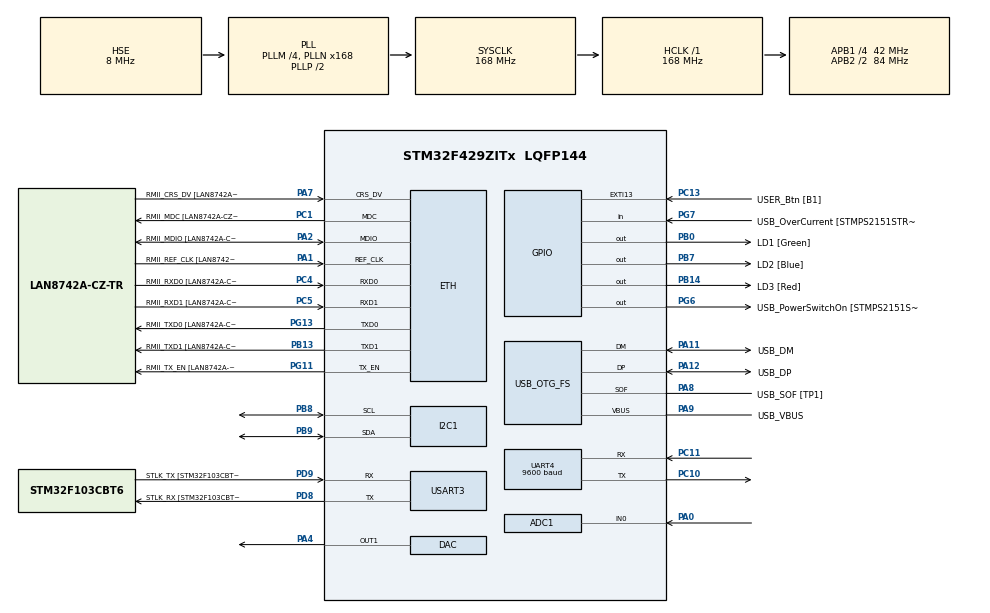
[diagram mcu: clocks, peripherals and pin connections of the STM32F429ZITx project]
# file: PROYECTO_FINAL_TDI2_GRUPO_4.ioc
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ADC1.Channel-2\#ChannelRegularConversion=ADC_CHANNEL_0
ADC1.NbrOfConversionFlag=1
ADC1.Rank-2\#ChannelRegularConversion=1
ADC1.SamplingTime-2\#ChannelRegularConversion=ADC_SAMPLETIME_3CYCLES
ADC1.master=1
DAC.DAC_OutputBuffer=DAC_OUTPUTBUFFER_ENABLE
DAC.DAC_Trigger=DAC_TRIGGER_T2_TRGO
Dma.DAC1.0.Direction=DMA_MEMORY_TO_PERIPH
Dma.DAC1.0.FIFOMode=DMA_FIFOMODE_DISABLE
Dma.DAC1.0.Instance=DMA1_Stream5
Dma.DAC1.0.MemDataAlignment=DMA_MDATAALIGN_WORD
Dma.DAC1.0.MemInc=DMA_MINC_ENABLE
Dma.DAC1.0.Mode=DMA_CIRCULAR
Dma.DAC1.0.PeriphDataAlignment=DMA_PDATAALIGN_WORD
Dma.DAC1.0.PeriphInc=DMA_PINC_DISABLE
Dma.DAC1.0.Priority=DMA_PRIORITY_LOW
Dma.Request0=DAC1
Dma.Request1=UART4_RX
Dma.Request2=UART4_TX
Dma.UART4_RX.1.Direction=DMA_PERIPH_TO_MEMORY
Dma.UART4_RX.1.FIFOMode=DMA_FIFOMODE_DISABLE
Dma.UART4_RX.1.Instance=DMA1_Stream2
Dma.UART4_RX.1.MemDataAlignment=DMA_MDATAALIGN_BYTE
Dma.UART4_RX.1.MemInc=DMA_MINC_ENABLE
Dma.UART4_RX.1.Mode=DMA_NORMAL
Dma.UART4_RX.1.PeriphDataAlignment=DMA_PDATAALIGN_BYTE
Dma.UART4_RX.1.PeriphInc=DMA_PINC_DISABLE
Dma.UART4_RX.1.Priority=DMA_PRIORITY_LOW
Dma.UART4_TX.2.Direction=DMA_MEMORY_TO_PERIPH
Dma.UART4_TX.2.FIFOMode=DMA_FIFOMODE_DISABLE
Dma.UART4_TX.2.Instance=DMA1_Stream4
Dma.UART4_TX.2.MemDataAlignment=DMA_MDATAALIGN_BYTE
Dma.UART4_TX.2.MemInc=DMA_MINC_ENABLE
Dma.UART4_TX.2.Mode=DMA_NORMAL
Dma.UART4_TX.2.PeriphDataAlignment=DMA_PDATAALIGN_BYTE
Dma.UART4_TX.2.PeriphInc=DMA_PINC_DISABLE
Dma.UART4_TX.2.Priority=DMA_PRIORITY_LOW
ETH.MediaInterface=HAL_ETH_RMII_MODE
ETH.PHY_Name=LAN8742A_PHY_ADDRESS
ETH.PHY_Value=0
ETH.PhyAddress=0
I2C1.OwnAddress=0
Mcu.Family=STM32F4
Mcu.Name=STM32F429ZITx
Mcu.Package=LQFP144
NVIC.DMA1_Stream2_IRQn=true\:0\:0\:false\:false\:true\:false\:true\:true
NVIC.DMA1_Stream4_IRQn=true\:0\:0\:false\:false\:true\:false\:true\:true
NVIC.DMA1_Stream5_IRQn=true\:0\:0\:false\:false\:true\:false\:true\:true
NVIC.I2C1_ER_IRQn=true\:0\:0\:false\:false\:true\:true\:true\:true
NVIC.I2C1_EV_IRQn=true\:0\:0\:false\:false\:true\:true\:true\:true
NVIC.PriorityGroup=NVIC_PRIORITYGROUP_4
NVIC.UART4_IRQn=true\:0\:0\:false\:false\:true\:true\:true\:true
PA0/WKUP.Signal=ADCx_IN0
PA1.GPIO_Label=RMII_REF_CLK [LAN8742A-CZ-TR_REFCLK0]
PA1.Mode=RMII
PA1.Signal=ETH_REF_CLK
PA10.GPIO_Label=USB_ID
PA10.Signal=USB_OTG_FS_ID
PA11.GPIO_Label=USB_DM
PA11.Mode=Device_Only
PA11.Signal=USB_OTG_FS_DM
PA12.GPIO_Label=USB_DP
PA12.Mode=Device_Only
PA12.Signal=USB_OTG_FS_DP
PA13.GPIO_Label=TMS
PA13.Mode=Serial_Wire
PA13.Signal=SYS_JTMS-SWDIO
PA14.GPIO_Label=TCK
PA14.Mode=Serial_Wire
PA14.Signal=SYS_JTCK-SWCLK
PA2.GPIO_Label=RMII_MDIO [LAN8742A-CZ-TR_MDIO]
PA2.Mode=RMII
PA2.Signal=ETH_MDIO
PA4.Signal=COMP_DAC1_group
PA7.GPIO_Label=RMII_CRS_DV [LAN8742A-CZ-TR_CRS_DV]
PA7.Mode=RMII
PA7.Signal=ETH_CRS_DV
PA8.GPIO_Label=USB_SOF [TP1]
PA8.Mode=Activate_SOF_FS
PA8.Signal=USB_OTG_FS_SOF
PA9.GPIO_Label=USB_VBUS
PA9.Mode=Activate_VBUS
PA9.Signal=USB_OTG_FS_VBUS
PB0.GPIO_Label=LD1 [Green]
PB0.Signal=GPIO_Output
PB13.GPIO_Label=RMII_TXD1 [LAN8742A-CZ-TR_TXD1]
PB13.Mode=RMII
PB13.Signal=ETH_TXD1
PB14.GPIO_Label=LD3 [Red]
PB14.Signal=GPIO_Output
PB7.GPIO_Label=LD2 [Blue]
PB7.Signal=GPIO_Output
PB8.GPIO_Pu=GPIO_PULLUP
PB8.Mode=I2C
PB8.Signal=I2C1_SCL
PB9.GPIO_Pu=GPIO_PULLUP
PB9.Mode=I2C
PB9.Signal=I2C1_SDA
PC1.GPIO_Label=RMII_MDC [LAN8742A-CZ-TR_MDC]
PC1.Mode=RMII
PC1.Signal=ETH_MDC
PC10.Mode=Asynchronous
PC10.Signal=UART4_TX
PC11.Mode=Asynchronous
PC11.Signal=UART4_RX
PC13.GPIO_Label=USER_Btn [B1]
PC13.Signal=GPXTI13
PC14/OSC32_IN.Mode=LSE-External-Clock-Source
PC14/OSC32_IN.Signal=RCC_OSC32_IN
PC15/OSC32_OUT.Mode=LSE-External-Clock-Source
PC15/OSC32_OUT.Signal=RCC_OSC32_OUT
PC4.GPIO_Label=RMII_RXD0 [LAN8742A-CZ-TR_RXD0]
PC4.Mode=RMII
PC4.Signal=ETH_RXD0
PC5.GPIO_Label=RMII_RXD1 [LAN8742A-CZ-TR_RXD1]
PC5.Mode=RMII
PC5.Signal=ETH_RXD1
PD8.GPIO_Label=STLK_RX [STM32F103CBT6_PA3]
PD8.Mode=Asynchronous
PD8.Signal=USART3_TX
PD9.GPIO_Label=STLK_TX [STM32F103CBT6_PA2]
PD9.Mode=Asynchronous
PD9.Signal=USART3_RX
PG11.GPIO_Label=RMII_TX_EN [LAN8742A-CZ-TR_TXEN]
PG11.Mode=RMII
PG11.Signal=ETH_TX_EN
PG13.GPIO_Label=RMII_TXD0 [LAN8742A-CZ-TR_TXD0]
PG13.Mode=RMII
PG13.Signal=ETH_TXD0
PG6.GPIO_Label=USB_PowerSwitchOn [STMPS2151STR_EN]
PG6.Signal=GPIO_Output
PG7.GPIO_Label=USB_OverCurrent [STMPS2151STR_FAULT]
PG7.Signal=GPIO_Input
PH0/OSC_IN.GPIO_Label=MCO [STM32F103CBT6_PA8]
PH0/OSC_IN.Mode=HSE-External-Oscillator
PH0/OSC_IN.Signal=RCC_OSC_IN
PH1/OSC_OUT.Mode=HSE-External-Oscillator
PH1/OSC_OUT.Signal=RCC_OSC_OUT
ProjectManager.HeapSize=0x200
ProjectManager.StackSize=0x400
ProjectManager.TargetToolchain=STM32CubeIDE
RCC.48MHZClocksFreq_Value=48000000
RCC.AHBFreq_Value=168000000
RCC.APB1CLKDivider=RCC_HCLK_DIV4
RCC.APB1Freq_Value=42000000
RCC.APB1TimFreq_Value=84000000
RCC.APB2CLKDivider=RCC_HCLK_DIV2
RCC.APB2Freq_Value=84000000
RCC.APB2TimFreq_Value=168000000
RCC.CortexFreq_Value=168000000
RCC.HCLKFreq_Value=168000000
RCC.HSE_VALUE=8000000
RCC.HSI_VALUE=16000000
RCC.PLLM=4
RCC.PLLMUL=RCC_PLL_MUL9
RCC.PLLN=168
RCC.PLLQ=7
RCC.PRESCALERUSB=RCC_USBCLKSOURCE_PLL_DIV1_5
RCC.SYSCLKFreq_VALUE=168000000
RCC.SYSCLKSource=RCC_SYSCLKSOURCE_PLLCLK
RCC.SYSCLKSourceVirtual=RCC_SYSCLKSOURCE_PLLCLK
RCC.USBFreq_Value=48000000
RCC.VCOOutputFreq_Value=336000000
SH.ADCx_IN0.0=ADC1_IN0,IN0
SH.COMP_DAC1_group.0=DAC_OUT1,DAC_OUT1
TIM2.Period=100
TIM2.Prescaler=84-1
TIM2.TIM_MasterOutputTrigger=TIM_TRGO_UPDATE
UART4.BaudRate=9600
UART4.VirtualMode=Asynchronous
USART3.VirtualMode=VM_ASYNC
USB_OTG_FS.VirtualMode=Device_Only
VP_TIM2_VS_ClockSourceINT.Mode=Internal
board=NUCLEO-F429ZI

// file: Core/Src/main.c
/* USER CODE BEGIN Header */
/**
  ******************************************************************************
  * @file           : main.c
  * @brief          : Main program body
  ******************************************************************************
  * @attention
  *
  * Copyright (c) 2025 STMicroelectronics.
  * All rights reserved.
  *
  * This software is licensed under terms that can be found in the LICENSE file
  * in the root directory of this software component.
  * If no LICENSE file comes with this software, it is provided AS-IS.
  *
  ******************************************************************************
  */
/* USER CODE END Header */
#include "main.h"
#include "string.h"
#include "API_debounce.h"
#include "math.h"
#include"string.h"
#include"stdio.h"
#include "LCDI2C.h"
#include <stdlib.h>

ETH_TxPacketConfig TxConfig;
ETH_DMADescTypeDef  DMARxDscrTab[ETH_RX_DESC_CNT]; /* Ethernet Rx DMA Descriptors */
ETH_DMADescTypeDef  DMATxDscrTab[ETH_TX_DESC_CNT]; /* Ethernet Tx DMA Descriptors */
ADC_HandleTypeDef hadc1;
DAC_HandleTypeDef hdac;
DMA_HandleTypeDef hdma_dac1;
ETH_HandleTypeDef heth;
I2C_HandleTypeDef hi2c1;
TIM_HandleTypeDef htim2;
UART_HandleTypeDef huart4;
UART_HandleTypeDef huart3;
DMA_HandleTypeDef hdma_uart4_rx;
DMA_HandleTypeDef hdma_uart4_tx;
PCD_HandleTypeDef hpcd_USB_OTG_FS;

/* USER CODE BEGIN PV */

float amplitud = 0.01f;//con esta controlo mi amplitud
float freq_div = 0.2f;// volt div ondas

float frecuenciaDeseada = 1.0f;
uint32_t onda_seno[100];// aqui almaceno los valores de mi onda senoidal
uint32_t onda_sierra[100];
uint32_t onda_cuadrada[100];
uint32_t onda_triangular[100];

#define PI 3.1415926 // constante
#define USER_Btn_Pin GPIO_PIN_13

uint8_t rxBuffer4[50]; // Buffer para recibir datos de UART4
uint8_t rxIndex4 = 0;
uint8_t rxData4;

int cuenta = 1;
/* USER CODE END PV */

void SystemClock_Config(void);
static void MX_GPIO_Init(void);
static void MX_DMA_Init(void);
static void MX_ETH_Init(void);
static void MX_USART3_UART_Init(void);
static void MX_USB_OTG_FS_PCD_Init(void);
static void MX_ADC1_Init(void);
static void MX_DAC_Init(void);
static void MX_TIM2_Init(void);
static void MX_I2C1_Init(void);
static void MX_UART4_Init(void);

/* USER CODE BEGIN 0 */
void actualizarFrecuencia(void);

void recalcularOndas(void);

void ondaseno()
{
	for (int x = 0; x < 100; x++)
	    {
	        onda_seno[x] = ((sin(x * 2 * PI / 100) + 1) * (amplitud * 4096 / 2));// formula calculo onda senoidal
	    }
}

void ondasierra()
{
	for (int y = 0; y < 100; y++)
	    {
	        onda_sierra[y] = (y * (amplitud*4096 / 100)); // calculo onda sierra
	    }

}

void ondacuadrada()
{

    for (int i = 0; i < 100; i++) {
        if (i < 50) { // Primeros 50 puntos: nivel alto
            onda_cuadrada[i] = amplitud * 4096; // Nivel alto (ajusta la amplitud)
        } else { // Últimos 50 puntos: nivel bajo
            onda_cuadrada[i] = 0; // Nivel bajo
        }
    }
}

void ondatriangular() {
    for (int i = 0; i < 100; i++) {
        if (i < 50) { // Parte ascendente
            onda_triangular[i] = (i * (amplitud * 4096 / 50));
        } else { // Parte descendente
            onda_triangular[i] = ((100 - i) * (amplitud * 4096 / 50));
        }
    }
}

void enviar(uint32_t valor){

	 char buffer[20];
	    sprintf(buffer, "%lu\r\n", valor);

	    HAL_UART_Transmit(&huart3, (uint8_t*)buffer, strlen(buffer), HAL_MAX_DELAY);
}

void HAL_UART_RxCpltCallback(UART_HandleTypeDef *huart) {
    if (huart == &huart4) {
        if (rxIndex4 < sizeof(rxBuffer4) - 1) {
            rxBuffer4[rxIndex4++] = rxData4;
        }
        HAL_UART_Receive_IT(&huart4, &rxData4, 1); // Recibir el siguiente byte
    }
}

void processBluetoothCommand() {
    if (rxIndex4 > 0) {
        rxBuffer4[rxIndex4] = '\0';
        if (strcmp((char *)rxBuffer4, "SEN") == 0) {
            cuenta = 1;
        } else if (strcmp((char *)rxBuffer4, "SIE") == 0) {
            cuenta = 2;
        } else if (strcmp((char *)rxBuffer4, "CUA") == 0) {
            cuenta = 3;
        } else if (strcmp((char *)rxBuffer4, "TRI") == 0) {
            cuenta = 4;
        } else if (strncmp((char *)rxBuffer4, "FREQ=", 5) == 0) {
            frecuenciaDeseada = atof((char *)rxBuffer4 + 5);
            actualizarFrecuencia(); // Actualizar la frecuencia en el LCD
        } else if (strncmp((char *)rxBuffer4, "AMP=", 4) == 0) {
            amplitud = atof((char *)rxBuffer4 + 4);
            recalcularOndas();
        }
        rxIndex4 = 0;
    }
}

void actualizarFrecuencia(void) {
   HAL_TIM_Base_Stop(&htim2);

uint32_t periodo = 168000000 / frecuenciaDeseada / 100;
htim2.Init.Period = periodo;
htim2.Init.Prescaler = 0;
  if (HAL_TIM_Base_Init(&htim2) != HAL_OK) {
        Error_Handler();
    }
  HAL_TIM_Base_Start(&htim2);

  LCD_setCursor(1, 0);
  LCD_sendSTR("                ");
  LCD_setCursor(1, 0);
  LCD_sendSTR("Freq: ");

  int frecuenciaEntera = (int)frecuenciaDeseada;
  int decimal = (int)((frecuenciaDeseada - frecuenciaEntera) * 10);

  char buffer[10];
  sprintf(buffer, "%d.%d Hz", frecuenciaEntera, decimal);

  LCD_sendSTR(buffer);
}

void recalcularOndas() {
  ondaseno();
  ondasierra();
  ondacuadrada();
  ondatriangular();
}

/* USER CODE END 0 */

int main(void)
{

  /* USER CODE BEGIN 1 */

  HAL_UART_Receive_IT(&huart4, &rxData4, 1); // Habilitar interrupciones de recepción UART4
  /* USER CODE END 1 */

  /* MCU Configuration--------------------------------------------------------*/

  /* Reset of all peripherals, Initializes the Flash interface and the Systick. */
  HAL_Init();

  /* Configure the system clock */
  SystemClock_Config();

  /* Initialize all configured peripherals */
  MX_GPIO_Init();
  MX_DMA_Init();
  MX_ETH_Init();
  MX_USART3_UART_Init();
  MX_USB_OTG_FS_PCD_Init();
  MX_ADC1_Init();
  MX_DAC_Init();
  MX_TIM2_Init();
  MX_I2C1_Init();
  MX_UART4_Init();
  /* USER CODE BEGIN 2 */

  HAL_UART_Receive_IT(&huart4, &rxData4, 1); // Habilitar interrupciones de recepción UART4
  HAL_TIM_Base_Start(&htim2);
  LCD_initID(0x4E); //I2C Address
  LCD_Init();	//Initialization

  debounceInit(GPIOC, USER_Btn_Pin);
  ondaseno();
  ondasierra();
  ondacuadrada();
  ondatriangular();
  actualizarFrecuencia();
  HAL_DAC_Start_DMA(&hdac, DAC_CHANNEL_1,onda_seno, 100, DAC_ALIGN_12B_R);
  HAL_DAC_Start_DMA(&hdac, DAC_CHANNEL_1,onda_sierra, 100, DAC_ALIGN_12B_R);
  /* USER CODE END 2 */

  /* Infinite loop */
  while (1)
  {

  processBluetoothCommand(); // Actualiza el estado del botón

	 if (readKey()) { // Verifica si el botón fue presionado
	 	         cuenta++;
	 if (cuenta > 4) { // Cambiado a 2 porque solo tienes dos formas de onda (seno y sierra)
	 	         cuenta = 1;
	 	              }
	 	        char buffer[50];
	 	        sprintf(buffer, "Boton presionado, cuenta: %d\r\n", cuenta);
	 	        HAL_UART_Transmit(&huart3, (uint8_t*)buffer, strlen(buffer), HAL_MAX_DELAY);
	 	        HAL_UART_Transmit(&huart4, (uint8_t*)buffer, strlen(buffer), HAL_MAX_DELAY);

	 	        LCD_setCursor(0, 1); // Establecer el cursor en la segunda línea
	 	        LCD_Clear(); // Limpiar solo la segunda línea (si es posible con tu librería)
	 	        char debugMsg[20];
	 	        sprintf(debugMsg, "Cuenta: %d", cuenta);
	 	        LCD_setCursor(0, 1); // Segunda línea del LCD
	 	        LCD_sendSTR(debugMsg);
	 	  }
	 	         LCD_Clear(); // Limpiar la pantalla antes de seleccionar la onda
	 switch (cuenta) {

	 case 1: // Onda senoidal
	 	 	      for (int i = 0; i < 100; i++) {
	 	 	      DAC->DHR12R1 = onda_seno[i];
	 	 	      HAL_Delay(8);
	 	 	      enviar(onda_seno[i]);

	 	 		  LCD_setCursor(0,3);
	 	 		  LCD_sendSTR("Onda Seno ");
	 	  }
	 	 	   break;

	 case 2: // Onda sierra
	 	 	      for (int i = 0; i < 100; i++) {
	 	 	      DAC->DHR12R1 = onda_sierra[i];
	 	 	      HAL_Delay(8);
	 	 	      enviar(onda_sierra[i]);

	 	 	      LCD_setCursor(0,2);
	 	 	      LCD_sendSTR("Onda sierra ");
	 	   }
	 	 	  break;

	 case 3: // Onda cuadrada
	 	 	 for (int i = 0; i < 100; i++) {
	 	 	     DAC->DHR12R1 = onda_cuadrada[i];
	 	 	     HAL_Delay(8);
	 	 	     enviar(onda_cuadrada[i]);

	 	 	     LCD_setCursor(0,1);
	 	 	     LCD_sendSTR("Onda cuadrada ");
	 	   }
	 	 	 break;
	 case 4: // Onda triangular
	 	 	 for (int i = 0; i < 100; i++) {
	 	 	     DAC->DHR12R1 = onda_triangular[i];
	 	 	     HAL_Delay(8);
	 	 	     enviar(onda_triangular[i]);

	 	 	     LCD_setCursor(0,1);
	 	 	     LCD_sendSTR("Onda triangular ");
	 	    }
	 	 	break;

	 	 	default:

	 	 	cuenta = 1;   // En caso de un valor inesperado, reinicia la cuenta
	 	    break;
	 	    }
  }
}

void SystemClock_Config(void)
{
  RCC_OscInitTypeDef RCC_OscInitStruct = {0};
  RCC_ClkInitTypeDef RCC_ClkInitStruct = {0};

  /** Configure the main internal regulator output voltage
  */
  __HAL_RCC_PWR_CLK_ENABLE();
  __HAL_PWR_VOLTAGESCALING_CONFIG(PWR_REGULATOR_VOLTAGE_SCALE1);

  /** Initializes the RCC Oscillators according to the specified parameters
  * in the RCC_OscInitTypeDef structure.
  */
  RCC_OscInitStruct.OscillatorType = RCC_OSCILLATORTYPE_HSE;
  RCC_OscInitStruct.HSEState = RCC_HSE_BYPASS;
  RCC_OscInitStruct.PLL.PLLState = RCC_PLL_ON;
  RCC_OscInitStruct.PLL.PLLSource = RCC_PLLSOURCE_HSE;
  RCC_OscInitStruct.PLL.PLLM = 4;
  RCC_OscInitStruct.PLL.PLLN = 168;
  RCC_OscInitStruct.PLL.PLLP = RCC_PLLP_DIV2;
  RCC_OscInitStruct.PLL.PLLQ = 7;
  if (HAL_RCC_OscConfig(&RCC_OscInitStruct) != HAL_OK)
  {
    Error_Handler();
  }

  /** Initializes the CPU, AHB and APB buses clocks
  */
  RCC_ClkInitStruct.ClockType = RCC_CLOCKTYPE_HCLK|RCC_CLOCKTYPE_SYSCLK
                              |RCC_CLOCKTYPE_PCLK1|RCC_CLOCKTYPE_PCLK2;
  RCC_ClkInitStruct.SYSCLKSource = RCC_SYSCLKSOURCE_PLLCLK;
  RCC_ClkInitStruct.AHBCLKDivider = RCC_SYSCLK_DIV1;
  RCC_ClkInitStruct.APB1CLKDivider = RCC_HCLK_DIV4;
  RCC_ClkInitStruct.APB2CLKDivider = RCC_HCLK_DIV2;

  if (HAL_RCC_ClockConfig(&RCC_ClkInitStruct, FLASH_LATENCY_5) != HAL_OK)
  {
    Error_Handler();
  }
}

static void MX_ADC1_Init(void)
{

  ADC_ChannelConfTypeDef sConfig = {0};

  /** Configure the global features of the ADC (Clock, Resolution, Data Alignment and number of conversion)
  */
  hadc1.Instance = ADC1;
  hadc1.Init.ClockPrescaler = ADC_CLOCK_SYNC_PCLK_DIV4;
  hadc1.Init.Resolution = ADC_RESOLUTION_12B;
  hadc1.Init.ScanConvMode = DISABLE;
  hadc1.Init.ContinuousConvMode = DISABLE;
  hadc1.Init.DiscontinuousConvMode = DISABLE;
  hadc1.Init.ExternalTrigConvEdge = ADC_EXTERNALTRIGCONVEDGE_NONE;
  hadc1.Init.ExternalTrigConv = ADC_SOFTWARE_START;
  hadc1.Init.DataAlign = ADC_DATAALIGN_RIGHT;
  hadc1.Init.NbrOfConversion = 1;
  hadc1.Init.DMAContinuousRequests = DISABLE;
  hadc1.Init.EOCSelection = ADC_EOC_SINGLE_CONV;
  if (HAL_ADC_Init(&hadc1) != HAL_OK)
  {
    Error_Handler();
  }

  /** Configure for the selected ADC regular channel its corresponding rank in the sequencer and its sample time.
  */
  sConfig.Channel = ADC_CHANNEL_0;
  sConfig.Rank = 1;
  sConfig.SamplingTime = ADC_SAMPLETIME_3CYCLES;
  if (HAL_ADC_ConfigChannel(&hadc1, &sConfig) != HAL_OK)
  {
    Error_Handler();
  }

}

static void MX_DAC_Init(void)
{

  DAC_ChannelConfTypeDef sConfig = {0};

  /** DAC Initialization
  */
  hdac.Instance = DAC;
  if (HAL_DAC_Init(&hdac) != HAL_OK)
  {
    Error_Handler();
  }

  /** DAC channel OUT1 config
  */
  sConfig.DAC_Trigger = DAC_TRIGGER_T2_TRGO;
  sConfig.DAC_OutputBuffer = DAC_OUTPUTBUFFER_ENABLE;
  if (HAL_DAC_ConfigChannel(&hdac, &sConfig, DAC_CHANNEL_1) != HAL_OK)
  {
    Error_Handler();
  }

}

static void MX_ETH_Init(void)
{

   static uint8_t MACAddr[6];

  heth.Instance = ETH;
  MACAddr[0] = 0x00;
  MACAddr[1] = 0x80;
  MACAddr[2] = 0xE1;
  MACAddr[3] = 0x00;
  MACAddr[4] = 0x00;
  MACAddr[5] = 0x00;
  heth.Init.MACAddr = &MACAddr[0];
  heth.Init.MediaInterface = HAL_ETH_RMII_MODE;
  heth.Init.TxDesc = DMATxDscrTab;
  heth.Init.RxDesc = DMARxDscrTab;
  heth.Init.RxBuffLen = 1524;

  if (HAL_ETH_Init(&heth) != HAL_OK)
  {
    Error_Handler();
  }

  memset(&TxConfig, 0 , sizeof(ETH_TxPacketConfig));
  TxConfig.Attributes = ETH_TX_PACKETS_FEATURES_CSUM | ETH_TX_PACKETS_FEATURES_CRCPAD;
  TxConfig.ChecksumCtrl = ETH_CHECKSUM_IPHDR_PAYLOAD_INSERT_PHDR_CALC;
  TxConfig.CRCPadCtrl = ETH_CRC_PAD_INSERT;

}

static void MX_I2C1_Init(void)
{

  hi2c1.Instance = I2C1;
  hi2c1.Init.ClockSpeed = 100000;
  hi2c1.Init.DutyCycle = I2C_DUTYCYCLE_2;
  hi2c1.Init.OwnAddress1 = 0;
  hi2c1.Init.AddressingMode = I2C_ADDRESSINGMODE_7BIT;
  hi2c1.Init.DualAddressMode = I2C_DUALADDRESS_DISABLE;
  hi2c1.Init.OwnAddress2 = 0;
  hi2c1.Init.GeneralCallMode = I2C_GENERALCALL_DISABLE;
  hi2c1.Init.NoStretchMode = I2C_NOSTRETCH_DISABLE;
  if (HAL_I2C_Init(&hi2c1) != HAL_OK)
  {
    Error_Handler();
  }

  /** Configure Analogue filter
  */
  if (HAL_I2CEx_ConfigAnalogFilter(&hi2c1, I2C_ANALOGFILTER_ENABLE) != HAL_OK)
  {
    Error_Handler();
  }

  /** Configure Digital filter
  */
  if (HAL_I2CEx_ConfigDigitalFilter(&hi2c1, 0) != HAL_OK)
  {
    Error_Handler();
  }

}

static void MX_TIM2_Init(void)
{

  TIM_ClockConfigTypeDef sClockSourceConfig = {0};
  TIM_MasterConfigTypeDef sMasterConfig = {0};

  htim2.Instance = TIM2;
  htim2.Init.Prescaler = 84-1;
  htim2.Init.CounterMode = TIM_COUNTERMODE_UP;
  htim2.Init.Period = 100;
  htim2.Init.ClockDivision = TIM_CLOCKDIVISION_DIV1;
  htim2.Init.AutoReloadPreload = TIM_AUTORELOAD_PRELOAD_DISABLE;
  if (HAL_TIM_Base_Init(&htim2) != HAL_OK)
  {
    Error_Handler();
  }
  sClockSourceConfig.ClockSource = TIM_CLOCKSOURCE_INTERNAL;
  if (HAL_TIM_ConfigClockSource(&htim2, &sClockSourceConfig) != HAL_OK)
  {
    Error_Handler();
  }
  sMasterConfig.MasterOutputTrigger = TIM_TRGO_UPDATE;
  sMasterConfig.MasterSlaveMode = TIM_MASTERSLAVEMODE_DISABLE;
  if (HAL_TIMEx_MasterConfigSynchronization(&htim2, &sMasterConfig) != HAL_OK)
  {
    Error_Handler();
  }

}

static void MX_UART4_Init(void)
{

  huart4.Instance = UART4;
  huart4.Init.BaudRate = 9600;
  huart4.Init.WordLength = UART_WORDLENGTH_8B;
  huart4.Init.StopBits = UART_STOPBITS_1;
  huart4.Init.Parity = UART_PARITY_NONE;
  huart4.Init.Mode = UART_MODE_TX_RX;
  huart4.Init.HwFlowCtl = UART_HWCONTROL_NONE;
  huart4.Init.OverSampling = UART_OVERSAMPLING_16;
  if (HAL_UART_Init(&huart4) != HAL_OK)
  {
    Error_Handler();
  }

}

static void MX_USART3_UART_Init(void)
{

  huart3.Instance = USART3;
  huart3.Init.BaudRate = 9600;
  huart3.Init.WordLength = UART_WORDLENGTH_8B;
  huart3.Init.StopBits = UART_STOPBITS_1;
  huart3.Init.Parity = UART_PARITY_NONE;
  huart3.Init.Mode = UART_MODE_TX_RX;
  huart3.Init.HwFlowCtl = UART_HWCONTROL_NONE;
  huart3.Init.OverSampling = UART_OVERSAMPLING_16;
  if (HAL_UART_Init(&huart3) != HAL_OK)
  {
    Error_Handler();
  }

}

static void MX_USB_OTG_FS_PCD_Init(void)
{

  hpcd_USB_OTG_FS.Instance = USB_OTG_FS;
  hpcd_USB_OTG_FS.Init.dev_endpoints = 4;
  hpcd_USB_OTG_FS.Init.speed = PCD_SPEED_FULL;
  hpcd_USB_OTG_FS.Init.dma_enable = DISABLE;
  hpcd_USB_OTG_FS.Init.phy_itface = PCD_PHY_EMBEDDED;
  hpcd_USB_OTG_FS.Init.Sof_enable = ENABLE;
  hpcd_USB_OTG_FS.Init.low_power_enable = DISABLE;
  hpcd_USB_OTG_FS.Init.lpm_enable = DISABLE;
  hpcd_USB_OTG_FS.Init.vbus_sensing_enable = ENABLE;
  hpcd_USB_OTG_FS.Init.use_dedicated_ep1 = DISABLE;
  if (HAL_PCD_Init(&hpcd_USB_OTG_FS) != HAL_OK)
  {
    Error_Handler();
  }

}

static void MX_DMA_Init(void)
{

  /* DMA controller clock enable */
  __HAL_RCC_DMA1_CLK_ENABLE();

  /* DMA interrupt init */
  /* DMA1_Stream2_IRQn interrupt configuration */
  HAL_NVIC_SetPriority(DMA1_Stream2_IRQn, 0, 0);
  HAL_NVIC_EnableIRQ(DMA1_Stream2_IRQn);
  /* DMA1_Stream4_IRQn interrupt configuration */
  HAL_NVIC_SetPriority(DMA1_Stream4_IRQn, 0, 0);
  HAL_NVIC_EnableIRQ(DMA1_Stream4_IRQn);
  /* DMA1_Stream5_IRQn interrupt configuration */
  HAL_NVIC_SetPriority(DMA1_Stream5_IRQn, 0, 0);
  HAL_NVIC_EnableIRQ(DMA1_Stream5_IRQn);

}

static void MX_GPIO_Init(void)
{
  GPIO_InitTypeDef GPIO_InitStruct = {0};

  /* GPIO Ports Clock Enable */
  __HAL_RCC_GPIOC_CLK_ENABLE();
  __HAL_RCC_GPIOH_CLK_ENABLE();
  __HAL_RCC_GPIOA_CLK_ENABLE();
  __HAL_RCC_GPIOB_CLK_ENABLE();
  __HAL_RCC_GPIOD_CLK_ENABLE();
  __HAL_RCC_GPIOG_CLK_ENABLE();

  /*Configure GPIO pin Output Level */
  HAL_GPIO_WritePin(GPIOB, LD1_Pin|LD3_Pin|LD2_Pin, GPIO_PIN_RESET);

  /*Configure GPIO pin Output Level */
  HAL_GPIO_WritePin(USB_PowerSwitchOn_GPIO_Port, USB_PowerSwitchOn_Pin, GPIO_PIN_RESET);

  /*Configure GPIO pin : USER_Btn_Pin */
  GPIO_InitStruct.Pin = USER_Btn_Pin;
  GPIO_InitStruct.Mode = GPIO_MODE_IT_RISING;
  GPIO_InitStruct.Pull = GPIO_NOPULL;
  HAL_GPIO_Init(USER_Btn_GPIO_Port, &GPIO_InitStruct);

  /*Configure GPIO pins : LD1_Pin LD3_Pin LD2_Pin */
  GPIO_InitStruct.Pin = LD1_Pin|LD3_Pin|LD2_Pin;
  GPIO_InitStruct.Mode = GPIO_MODE_OUTPUT_PP;
  GPIO_InitStruct.Pull = GPIO_NOPULL;
  GPIO_InitStruct.Speed = GPIO_SPEED_FREQ_LOW;
  HAL_GPIO_Init(GPIOB, &GPIO_InitStruct);

  /*Configure GPIO pin : USB_PowerSwitchOn_Pin */
  GPIO_InitStruct.Pin = USB_PowerSwitchOn_Pin;
  GPIO_InitStruct.Mode = GPIO_MODE_OUTPUT_PP;
  GPIO_InitStruct.Pull = GPIO_NOPULL;
  GPIO_InitStruct.Speed = GPIO_SPEED_FREQ_LOW;
  HAL_GPIO_Init(USB_PowerSwitchOn_GPIO_Port, &GPIO_InitStruct);

  /*Configure GPIO pin : USB_OverCurrent_Pin */
  GPIO_InitStruct.Pin = USB_OverCurrent_Pin;
  GPIO_InitStruct.Mode = GPIO_MODE_INPUT;
  GPIO_InitStruct.Pull = GPIO_NOPULL;
  HAL_GPIO_Init(USB_OverCurrent_GPIO_Port, &GPIO_InitStruct);

}

void Error_Handler(void)
{
  __disable_irq();
  while (1)
  {
  }
}
